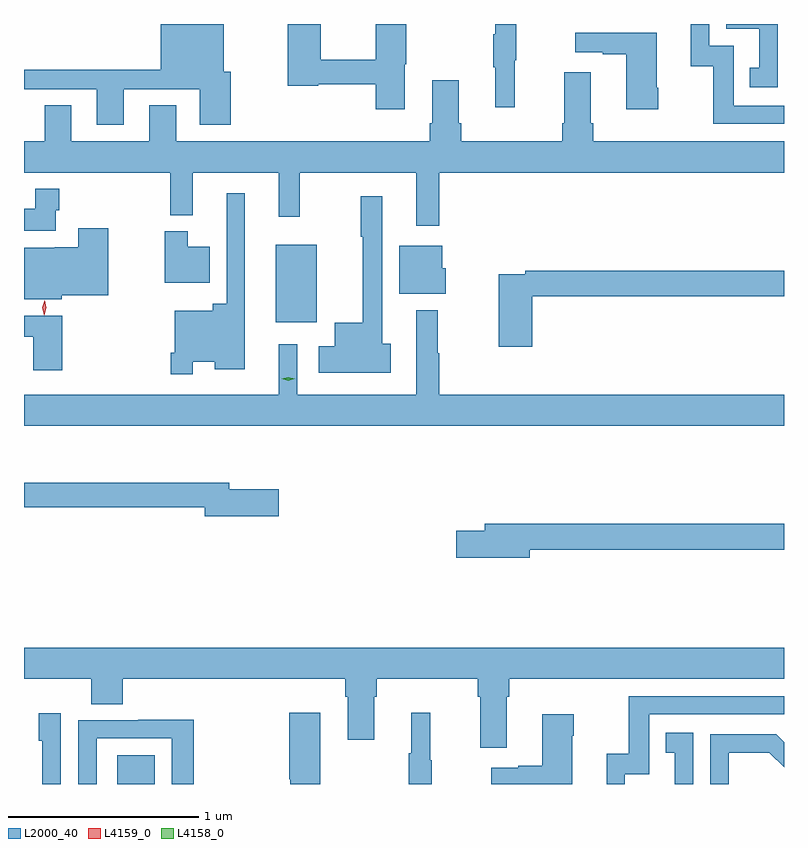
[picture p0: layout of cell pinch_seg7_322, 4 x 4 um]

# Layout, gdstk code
import gdstk
lib = gdstk.Library(unit=1e-6, precision=1e-09)
def R(c, l, rs):  # rectangles x0, y0, x1, y1
    for r in rs: c.add(gdstk.rectangle(r[:2], r[2:], *l))
def P(c, l, *ps):  # polygons
    for p in ps: c.add(gdstk.Polygon(p, *l))
L2000_40 = (2000, 40)
L4158_0 = (4158, 0)
L4159_0 = (4159, 0)

pinch_seg7_322 = lib.new_cell('pinch_seg7_322')
R(pinch_seg7_322, L2000_40, [(467.915,1056.006,468.112,1056.157), (468.749,1058.435,468.964,1058.845)])
P(pinch_seg7_322, L2000_40, [(471.39,1060.006),(471.12,1060.006),(471.12,1059.981),(471.293,1059.981),(471.293,1059.777),(471.244,1059.777),(471.244,1059.672),(471.39,1059.672)],
  [(470.006,1059.816),(470.014,1059.816),(470.014,1060.006),(469.904,1060.006),(469.904,1059.953),(469.893,1059.953),(469.893,1059.779),(469.904,1059.779),(469.904,1059.567),(470.006,1059.567)],
  [(471.423,1059.576),(471.159,1059.576),(471.159,1059.891),(471.03,1059.891),(471.03,1060.006),(470.933,1060.006),(470.933,1059.783),(471.051,1059.783),(471.051,1059.48),(471.423,1059.48)],
  [(469.426,1059.795),(469.434,1059.795),(469.434,1060.006),(469.273,1060.006),(469.273,1059.818),(468.984,1059.818),(468.984,1060.006),(468.811,1060.006),(468.811,1059.682),(468.972,1059.682),(468.972,1059.69),(469.273,1059.69),(469.273,1059.558),(469.426,1059.558)],
  [(467.947,1059.663),(468.347,1059.663),(468.347,1059.477),(468.512,1059.477),(468.512,1059.756),(468.475,1059.756),(468.475,1060.006),(468.143,1060.006),(468.143,1059.764),(467.423,1059.764),(467.423,1059.663),(467.807,1059.663),(467.807,1059.477),(467.947,1059.477)],
  [(470.76,1059.67),(470.752,1059.67),(470.752,1059.961),(470.325,1059.961),(470.325,1059.857),(470.468,1059.857),(470.468,1059.847),(470.594,1059.847),(470.594,1059.558),(470.76,1059.558)],
  [(468.223,1059.578),(468.083,1059.578),(468.083,1059.388),(467.671,1059.388),(467.671,1059.578),(467.531,1059.578),(467.531,1059.388),(467.423,1059.388),(467.423,1059.224),(468.193,1059.224),(468.193,1058.999),(468.311,1058.999),(468.311,1059.224),(468.764,1059.224),(468.764,1058.991),(468.874,1058.991),(468.874,1059.224),(469.487,1059.224),(469.487,1058.943),(469.609,1058.943),(469.609,1059.224),(471.423,1059.224),(471.423,1059.388),(470.42,1059.388),(470.42,1059.484),(470.407,1059.484),(470.407,1059.751),(470.267,1059.751),(470.267,1059.484),(470.255,1059.484),(470.255,1059.388),(469.724,1059.388),(469.724,1059.484),(469.711,1059.484),(469.711,1059.709),(469.571,1059.709),(469.571,1059.484),(469.559,1059.484),(469.559,1059.388),(468.223,1059.388)],
  [(467.589,1059.026),(467.609,1059.026),(467.609,1059.139),(467.481,1059.139),(467.481,1059.034),(467.423,1059.034),(467.423,1058.918),(467.589,1058.918)],
  [(468.312,1058.228),(468.428,1058.228),(468.428,1058.189),(468.586,1058.189),(468.586,1059.115),(468.489,1059.115),(468.489,1058.533),(468.416,1058.533),(468.416,1058.497),(468.216,1058.497),(468.216,1058.275),(468.196,1058.275),(468.196,1058.163),(468.312,1058.163)],
  [(469.354,1058.324),(469.309,1058.324),(469.309,1059.1),(469.195,1059.1),(469.195,1058.887),(469.205,1058.887),(469.205,1058.434),(469.058,1058.434),(469.058,1058.311),(468.974,1058.311),(468.974,1058.171),(469.354,1058.171)],
  [(467.622,1058.579),(467.866,1058.579),(467.866,1058.932),(467.708,1058.932),(467.708,1058.83),(467.586,1058.83),(467.586,1058.828),(467.423,1058.828),(467.423,1058.558),(467.622,1058.558)],
  [(468.4,1058.833),(468.286,1058.833),(468.286,1058.914),(468.164,1058.914),(468.164,1058.645),(468.4,1058.645)],
  [(469.642,1058.721),(469.624,1058.721),(469.624,1058.839),(469.397,1058.839),(469.397,1058.585),(469.642,1058.585)],
  [(470.099,1058.572),(471.423,1058.572),(471.423,1058.708),(470.062,1058.708),(470.062,1058.688),(469.921,1058.688),(469.921,1058.307),(470.099,1058.307)],
  [(471.423,1058.056),(469.609,1058.056),(469.609,1058.273),(469.601,1058.273),(469.601,1058.5),(469.487,1058.5),(469.487,1058.056),(468.861,1058.056),(468.861,1058.32),(468.764,1058.32),(468.764,1058.056),(467.423,1058.056),(467.423,1057.892),(471.423,1057.892)],
  [(467.624,1058.471),(467.423,1058.471),(467.423,1058.361),(467.471,1058.361),(467.471,1058.184),(467.624,1058.184)],
  [(468.763,1057.557),(468.502,1057.557),(468.502,1057.591),(467.423,1057.591),(467.423,1057.462),(468.374,1057.462),(468.374,1057.415),(468.763,1057.415)],
  [(470.086,1057.24),(471.423,1057.24),(471.423,1057.376),(469.847,1057.376),(469.847,1057.34),(469.698,1057.34),(469.698,1057.198),(470.086,1057.198)],
  [(467.423,1056.56),(467.777,1056.56),(467.777,1056.427),(467.942,1056.427),(467.942,1056.56),(469.115,1056.56),(469.115,1056.464),(469.127,1056.464),(469.127,1056.24),(469.267,1056.24),(469.267,1056.464),(469.28,1056.464),(469.28,1056.56),(469.811,1056.56),(469.811,1056.464),(469.823,1056.464),(469.823,1056.198),(469.963,1056.198),(469.963,1056.464),(469.976,1056.464),(469.976,1056.56),(471.423,1056.56),(471.423,1056.724),(467.423,1056.724)],
  [(470.586,1056.057),(470.715,1056.057),(470.715,1056.372),(471.423,1056.372),(471.423,1056.468),(470.607,1056.468),(470.607,1056.166),(470.489,1056.166),(470.489,1056.006),(470.586,1056.006)],
  [(468.982,1056.382),(468.818,1056.382),(468.818,1056.03),(468.824,1056.03),(468.824,1056.006),(468.982,1056.006)],
  [(469.57,1056.132),(469.562,1056.132),(469.562,1056.382),(469.46,1056.382),(469.46,1056.169),(469.449,1056.169),(469.449,1056.006),(469.57,1056.006)],
  [(467.616,1056.379),(467.501,1056.379),(467.501,1056.234),(467.52,1056.234),(467.52,1056.006),(467.616,1056.006)],
  [(470.308,1056.26),(470.316,1056.26),(470.316,1056.373),(470.15,1056.373),(470.15,1056.101),(470.024,1056.101),(470.024,1056.091),(469.881,1056.091),(469.881,1056.006),(470.308,1056.006)],
  [(467.805,1056.246),(468.201,1056.246),(468.201,1056.006),(468.317,1056.006),(468.317,1056.344),(468.025,1056.344),(468.025,1056.342),(467.709,1056.342),(467.709,1056.006),(467.805,1056.006)],
  [(470.946,1056.277),(470.8,1056.277),(470.8,1056.171),(470.849,1056.171),(470.849,1056.006),(470.946,1056.006)],
  [(471.132,1056.17),(471.346,1056.17),(471.423,1056.093),(471.423,1056.226),(471.382,1056.267),(471.036,1056.267),(471.036,1056.006),(471.132,1056.006)])
P(pinch_seg7_322, L4158_0, [(468.813,1058.128),(468.779,1058.138),(468.778,1058.139),(468.779,1058.139),(468.813,1058.148),(468.848,1058.138),(468.848,1058.138),(468.848,1058.138)])
P(pinch_seg7_322, L4159_0, [(467.529,1058.472),(467.529,1058.472),(467.52,1058.513),(467.531,1058.553),(467.531,1058.553),(467.532,1058.553),(467.54,1058.512),(467.529,1058.472)])

lib.write_gds('pinch_seg7_322.gds')
